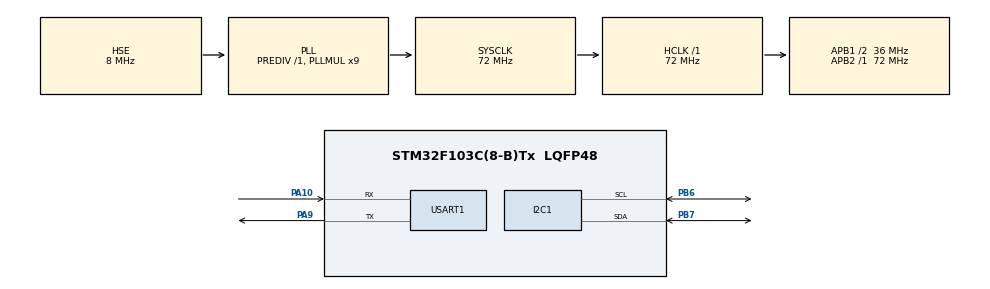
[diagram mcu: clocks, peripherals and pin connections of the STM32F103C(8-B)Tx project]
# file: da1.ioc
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Mcu.Family=STM32F1
Mcu.Name=STM32F103C(8-B)Tx
Mcu.Package=LQFP48
NVIC.I2C1_ER_IRQn=true\:1\:0\:true\:false\:true\:true\:true\:true
NVIC.I2C1_EV_IRQn=true\:1\:0\:true\:false\:true\:true\:true\:true
NVIC.PriorityGroup=NVIC_PRIORITYGROUP_4
NVIC.TIM1_UP_IRQn=true\:1\:0\:true\:false\:true\:true\:true\:true
NVIC.USART1_IRQn=true\:0\:0\:true\:false\:true\:true\:true\:true
PA10.Mode=Asynchronous
PA10.Signal=USART1_RX
PA13.Mode=Serial_Wire
PA13.Signal=SYS_JTMS-SWDIO
PA14.Mode=Serial_Wire
PA14.Signal=SYS_JTCK-SWCLK
PA9.Mode=Asynchronous
PA9.Signal=USART1_TX
PB6.Mode=I2C
PB6.Signal=I2C1_SCL
PB7.Mode=I2C
PB7.Signal=I2C1_SDA
PD0-OSC_IN.Mode=HSE-External-Oscillator
PD0-OSC_IN.Signal=RCC_OSC_IN
PD1-OSC_OUT.Mode=HSE-External-Oscillator
PD1-OSC_OUT.Signal=RCC_OSC_OUT
ProjectManager.HeapSize=0x200
ProjectManager.StackSize=0x400
ProjectManager.TargetToolchain=MDK-ARM V5.32
RCC.AHBFreq_Value=72000000
RCC.APB1CLKDivider=RCC_HCLK_DIV2
RCC.APB1Freq_Value=36000000
RCC.APB1TimFreq_Value=72000000
RCC.APB2Freq_Value=72000000
RCC.APB2TimFreq_Value=72000000
RCC.HCLKFreq_Value=72000000
RCC.PLLMUL=RCC_PLL_MUL9
RCC.PLLSourceVirtual=RCC_PLLSOURCE_HSE
RCC.SYSCLKFreq_VALUE=72000000
RCC.SYSCLKSource=RCC_SYSCLKSOURCE_PLLCLK
RCC.USBFreq_Value=72000000
TIM1.Period=124
TIM1.Prescaler=71
USART1.VirtualMode=VM_ASYNC
VP_TIM1_VS_ClockSourceINT.Mode=Internal
board=custom

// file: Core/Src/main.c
/* USER CODE BEGIN Header */
/**
  ******************************************************************************
  * @file           : main.c
  * @brief          : Main program body - B2ZS Encoding with MCP4725 DAC Output
  ******************************************************************************
  * @attention
  *
  * Copyright (c) 2025 STMicroelectronics.
  * All rights reserved.
  *
  * This software is licensed under terms that can be found in the LICENSE file
  * in the root directory of this software component.
  * If no LICENSE file comes with this software, it is provided AS-IS.
  *
  ******************************************************************************
  */
/* USER CODE END Header */
#include "main.h"

/* USER CODE BEGIN PM */
#include "stdio.h"
#include <stdarg.h>
#include <string.h>

#define Address_device 0x60<<1

/* USER CODE END PM */

I2C_HandleTypeDef hi2c1;

TIM_HandleTypeDef htim1;

UART_HandleTypeDef huart1;

/* USER CODE BEGIN PV */
void my_printf (const char* format, ... )
{
    va_list args;
    va_start (args, format);

    char buffer[256];
    vsnprintf (buffer, sizeof (buffer), format, args);

    // Gui du lieu qua UART
    HAL_UART_Transmit (&huart1, (uint8_t*) buffer, strlen (buffer), HAL_MAX_DELAY) ;

    va_end (args);
}

uint8_t input[40];
uint8_t dodai_data[16]={0};
uint8_t header[8] = {1,1,1,1,1,1,1,1};

int8_t output[sizeof(input) + sizeof(dodai_data)+sizeof(header)];
int8_t b2zs_ouput[sizeof(input) + sizeof(dodai_data)+sizeof(header)]={0};

uint8_t data[2];
uint8_t data_index =0;
uint8_t counter =0;

volatile uint8_t i2c_tx_ready = 1;

/* USER CODE END PV */

void SystemClock_Config(void);
static void MX_GPIO_Init(void);
static void MX_I2C1_Init(void);
static void MX_USART1_UART_Init(void);
static void MX_TIM1_Init(void);

/* USER CODE BEGIN 0 */

void dodai(int size)
{

  uint8_t sodu =0;
  uint8_t i =0;
  while(size!=0){
      sodu = size%2;
      size=size/2;
      dodai_data[sizeof(dodai_data)-i-1]=sodu;
      i++;
  }
}

		void B2ZS_coding(uint8_t input[], uint8_t size) {
			dodai(size);

			for(int i= 0; i<sizeof(header);i++)
            {
                output[i] = header[i];
            }
            for(int i= 0; i<sizeof(dodai_data);i++)
            {
                output[i+sizeof(header)] = dodai_data[i];
            }
            for(int i= 0; i<size;i++)
            {
                output[i+sizeof(header)+ sizeof(dodai_data)] = input[i];
            }

			int8_t last_polarity = -1;

			for (uint8_t i = 0; i < sizeof(output); i++) {
					if (output[i] == 1) {
							last_polarity = -last_polarity;
							b2zs_ouput[i] = last_polarity;

					}
					else if (i < sizeof(output) - 1 && output[i] == 0 && output[i + 1] == 0) {
							last_polarity = -last_polarity;
							b2zs_ouput[i] = last_polarity;

							b2zs_ouput[i + 1] = last_polarity;

							i++;

					}
					else {
              b2zs_ouput[i] = 0;

					}
			}
		}

void Set_Value(int8_t b2zs_ouput, I2C_HandleTypeDef *hi2c)
{

				uint16_t dac_value;
        if (b2zs_ouput == -1)
					{
            dac_value = 0x0000;
					}
				else if (b2zs_ouput == 0)
					{
            dac_value = 0x0800;
					}
				else
					{
            dac_value = 0x0FFF;
					}
				 // Debug giА tri DAC
//        char msg[30];
//        sprintf(msg, "DAC Value: %04X\r\n", dac_value);
//        HAL_UART_Transmit(&huart1, (uint8_t *)msg, strlen(msg), HAL_MAX_DELAY);

				data[0] = (dac_value >> 8) & 0xFF;
				data[1] =  dac_value  & 0xFF;

				 if (i2c_tx_ready) {
        i2c_tx_ready = 0;
        if (HAL_I2C_Master_Transmit_IT(&hi2c1, Address_device, data, 2) != HAL_OK) {
            Error_Handler();
        }
    }

}

void HAL_UART_RxCpltCallback(UART_HandleTypeDef *huart)
		{
			if(huart->Instance == huart1.Instance)
			{
				for(uint8_t i=0;i<sizeof(input);i++)
				{
					if(input[i]=='1')
					{
						input[i]=1;
					}
					else
					{
						input[i]=0;
					}
				}

					B2ZS_coding(input, sizeof(input));

//				for(int i=0; i<sizeof(output);i++)
//    {
//     my_printf("%d ",(int)output[i]);
//    }
//    my_printf("\n");
//		for(int i=0; i<sizeof(b2zs_ouput);i++)
//    {
//     my_printf("%d ",(int)b2zs_ouput[i]);
//    }
//		my_printf("\n");

					HAL_TIM_Base_Start_IT(&htim1);

			}
		}

void HAL_TIM_PeriodElapsedCallback(TIM_HandleTypeDef *htim)
{
	HAL_GPIO_WritePin(GPIOA, GPIO_PIN_0, GPIO_PIN_SET);
	if(htim->Instance==htim1.Instance)
	{
		if(counter <40)
		{

				Set_Value(b2zs_ouput[data_index], &hi2c1);
			  counter++;

		}
		else if(counter >=40 && counter <80)
		{
			int8_t output8 = 0;
			Set_Value(output8, &hi2c1);
			counter ++;
		}
		else
		{
			// gui bit tiep theo
			counter =0;
			if(data_index<=sizeof(input) + sizeof(dodai_data)+sizeof(header)-2)
			{
				data_index++;
				Set_Value(b2zs_ouput[data_index], &hi2c1);
			  counter++;
			}
			else
			{
					data_index =0;
				HAL_TIM_Base_Stop(&htim1);
				HAL_GPIO_WritePin(GPIOA, GPIO_PIN_0, GPIO_PIN_RESET);
					HAL_UART_Receive_IT(&huart1, input, sizeof(input));
			}

		}

	}
}
void HAL_I2C_MasterTxCpltCallback(I2C_HandleTypeDef *hi2c)
{
    if (hi2c->Instance == hi2c1.Instance) {
        i2c_tx_ready = 1;
    }
}
/* USER CODE END 0 */

int main(void)
{

  /* MCU Configuration--------------------------------------------------------*/

  /* Reset of all peripherals, Initializes the Flash interface and the Systick. */
  HAL_Init();

  /* Configure the system clock */
  SystemClock_Config();

  /* Initialize all configured peripherals */
  MX_GPIO_Init();
  MX_I2C1_Init();
  MX_USART1_UART_Init();
  MX_TIM1_Init();
  /* USER CODE BEGIN 2 */
	HAL_UART_Receive_IT(&huart1, input, sizeof(input));

  /* USER CODE END 2 */

  /* Infinite loop */
  while (1)
  {

    }
}

void SystemClock_Config(void)
{
  RCC_OscInitTypeDef RCC_OscInitStruct = {0};
  RCC_ClkInitTypeDef RCC_ClkInitStruct = {0};

  /** Initializes the RCC Oscillators according to the specified parameters
  * in the RCC_OscInitTypeDef structure.
  */
  RCC_OscInitStruct.OscillatorType = RCC_OSCILLATORTYPE_HSE;
  RCC_OscInitStruct.HSEState = RCC_HSE_ON;
  RCC_OscInitStruct.HSEPredivValue = RCC_HSE_PREDIV_DIV1;
  RCC_OscInitStruct.HSIState = RCC_HSI_ON;
  RCC_OscInitStruct.PLL.PLLState = RCC_PLL_ON;
  RCC_OscInitStruct.PLL.PLLSource = RCC_PLLSOURCE_HSE;
  RCC_OscInitStruct.PLL.PLLMUL = RCC_PLL_MUL9;
  if (HAL_RCC_OscConfig(&RCC_OscInitStruct) != HAL_OK)
  {
    Error_Handler();
  }

  /** Initializes the CPU, AHB and APB buses clocks
  */
  RCC_ClkInitStruct.ClockType = RCC_CLOCKTYPE_HCLK|RCC_CLOCKTYPE_SYSCLK
                              |RCC_CLOCKTYPE_PCLK1|RCC_CLOCKTYPE_PCLK2;
  RCC_ClkInitStruct.SYSCLKSource = RCC_SYSCLKSOURCE_PLLCLK;
  RCC_ClkInitStruct.AHBCLKDivider = RCC_SYSCLK_DIV1;
  RCC_ClkInitStruct.APB1CLKDivider = RCC_HCLK_DIV2;
  RCC_ClkInitStruct.APB2CLKDivider = RCC_HCLK_DIV1;

  if (HAL_RCC_ClockConfig(&RCC_ClkInitStruct, FLASH_LATENCY_2) != HAL_OK)
  {
    Error_Handler();
  }
}

static void MX_I2C1_Init(void)
{

  hi2c1.Instance = I2C1;
  hi2c1.Init.ClockSpeed = 100000;
  hi2c1.Init.DutyCycle = I2C_DUTYCYCLE_2;
  hi2c1.Init.OwnAddress1 = 0;
  hi2c1.Init.AddressingMode = I2C_ADDRESSINGMODE_7BIT;
  hi2c1.Init.DualAddressMode = I2C_DUALADDRESS_DISABLE;
  hi2c1.Init.OwnAddress2 = 0;
  hi2c1.Init.GeneralCallMode = I2C_GENERALCALL_DISABLE;
  hi2c1.Init.NoStretchMode = I2C_NOSTRETCH_DISABLE;
  if (HAL_I2C_Init(&hi2c1) != HAL_OK)
  {
    Error_Handler();
  }

}

static void MX_TIM1_Init(void)
{

  TIM_ClockConfigTypeDef sClockSourceConfig = {0};
  TIM_MasterConfigTypeDef sMasterConfig = {0};

  htim1.Instance = TIM1;
  htim1.Init.Prescaler = 71;
  htim1.Init.CounterMode = TIM_COUNTERMODE_UP;
  htim1.Init.Period = 124;
  htim1.Init.ClockDivision = TIM_CLOCKDIVISION_DIV1;
  htim1.Init.RepetitionCounter = 0;
  htim1.Init.AutoReloadPreload = TIM_AUTORELOAD_PRELOAD_DISABLE;
  if (HAL_TIM_Base_Init(&htim1) != HAL_OK)
  {
    Error_Handler();
  }
  sClockSourceConfig.ClockSource = TIM_CLOCKSOURCE_INTERNAL;
  if (HAL_TIM_ConfigClockSource(&htim1, &sClockSourceConfig) != HAL_OK)
  {
    Error_Handler();
  }
  sMasterConfig.MasterOutputTrigger = TIM_TRGO_RESET;
  sMasterConfig.MasterSlaveMode = TIM_MASTERSLAVEMODE_DISABLE;
  if (HAL_TIMEx_MasterConfigSynchronization(&htim1, &sMasterConfig) != HAL_OK)
  {
    Error_Handler();
  }

}

static void MX_USART1_UART_Init(void)
{

  huart1.Instance = USART1;
  huart1.Init.BaudRate = 115200;
  huart1.Init.WordLength = UART_WORDLENGTH_8B;
  huart1.Init.StopBits = UART_STOPBITS_1;
  huart1.Init.Parity = UART_PARITY_NONE;
  huart1.Init.Mode = UART_MODE_TX_RX;
  huart1.Init.HwFlowCtl = UART_HWCONTROL_NONE;
  huart1.Init.OverSampling = UART_OVERSAMPLING_16;
  if (HAL_UART_Init(&huart1) != HAL_OK)
  {
    Error_Handler();
  }

}

static void MX_GPIO_Init(void)
{

  /* GPIO Ports Clock Enable */
  __HAL_RCC_GPIOD_CLK_ENABLE();
  __HAL_RCC_GPIOA_CLK_ENABLE();
  __HAL_RCC_GPIOB_CLK_ENABLE();

}

void Error_Handler(void)
{
  __disable_irq();
  while (1)
  {
  }
}
